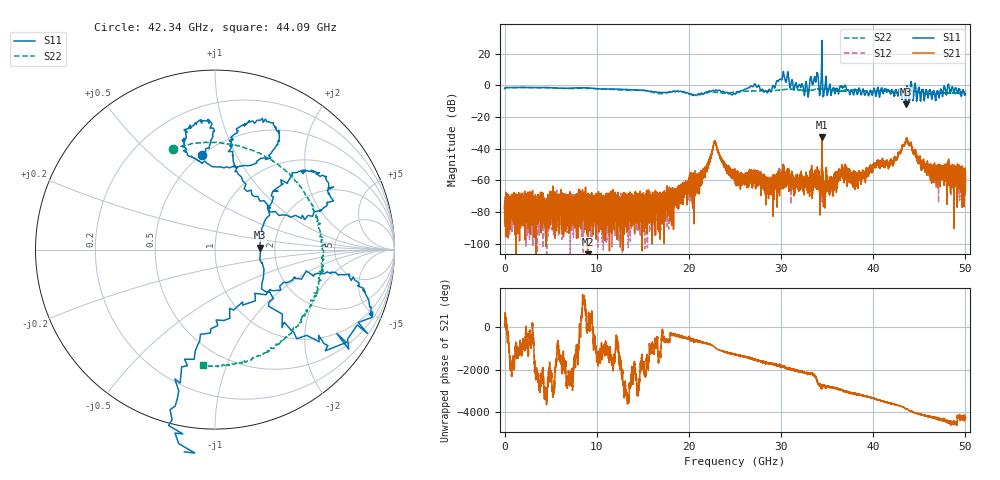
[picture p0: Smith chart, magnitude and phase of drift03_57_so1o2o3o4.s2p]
!Created with skrf (http://scikit-rf.org).
# Hz S RI R 50.0
!freq ReS11 ImS11 ReS21 ImS21 ReS12 ImS12 ReS22 ImS22
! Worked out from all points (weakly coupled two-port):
!   10000 points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, 5.3 MHz to 50 GHz, reference 50 ohm
!   highest |S21| = -32.90 dB at 34.43 GHz (marker M1); lowest = -113.9 dB at 9.015 GHz (marker M2)
!   lowest |S11| = -12.1 dB at 43.52 GHz (marker M3), VSWR 1.66, Z = 83 + j1.79 ohm
!   |S11| at or under -10 dB: 43.48582 GHz to 43.55218 GHz (66.36 MHz wide, 0.152 % of centre)
!   |S22| runs from -5.9 to -1.3 dB; largest |S21 - S12| = 0.016
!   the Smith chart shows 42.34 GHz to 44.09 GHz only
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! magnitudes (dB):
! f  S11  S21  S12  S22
! 5.3 MHz  -2.1  -77.8  -75.0  -2.1
! 8.34 GHz  -1.5  -86.2  -74.4  -1.9
! 9.015 GHz  -1.6  -113.9  -71.1  -1.9
! 16.67 GHz  -4.4  -70.9  -72.7  -5.2
! 21.13 GHz  -6.0  -59.7  -55.9  -5.4
! 22.82 GHz  -3.4  -35.3  -35.4  -4.5
! 23.95 GHz  -4.8  -52.1  -49.4  -4.8
! 25.01 GHz  -5.5  -55.5  -58.0  -4.2
! 27.01 GHz  -0.5  -55.6  -56.3  -3.6
! 28.9 GHz  -4.2  -61.9  -64.4  -3.5
! 30.14 GHz  4.4  -56.9  -56.7  -2.8
! 32.74 GHz  2.0  -62.3  -57.0  -3.4
! 33.34 GHz  2.6  -63.6  -55.2  -2.9
! 33.82 GHz  4.0  -61.5  -61.0  -2.6
! 34.43 GHz  28.4  -32.9  -37.5  -2.3
! 35.63 GHz  -1.9  -63.6  -60.2  -3.1
! 36.48 GHz  -0.5  -54.3  -54.4  -3.8
! 41.67 GHz  -3.0  -51.0  -50.5  -3.7
! 43.52 GHz  -12.1  -35.3  -35.4  -4.1
! 46.32 GHz  -7.6  -52.5  -53.5  -5.6
! 49.15 GHz  -4.9  -54.4  -56.4  -5.1
! 50 GHz  -5.2  -66.8  -56.7  -4.9
